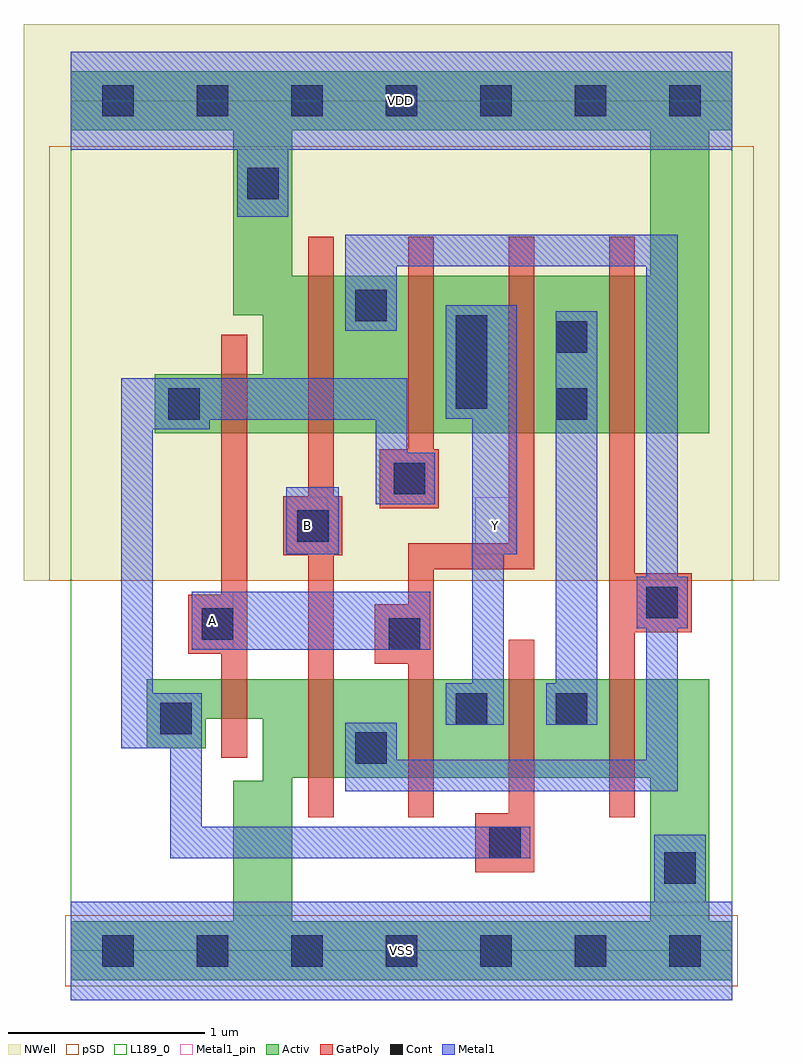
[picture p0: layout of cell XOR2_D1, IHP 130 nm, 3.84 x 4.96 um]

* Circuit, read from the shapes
.subckt XOR2_D1 A B VDD VSS Y
XM1 VSS A n1 VSS sg13_lv_nmos w=0.2u l=0.13u
XM2 n2 B VSS VSS sg13_lv_nmos w=0.5u l=0.13u
XM3 Y A n2 VSS sg13_lv_nmos w=0.5u l=0.13u
XM4 n3 n1 Y VSS sg13_lv_nmos w=0.5u l=0.13u
XM5 VSS n2 n3 VSS sg13_lv_nmos w=0.5u l=0.13u
XM6 VDD A n1 VDD sg13_lv_pmos w=0.3u l=0.13u
XM7 n2 B VDD VDD sg13_lv_pmos w=0.8u l=0.13u
XM8 Y n1 n2 VDD sg13_lv_pmos w=0.8u l=0.13u
XM9 n3 A Y VDD sg13_lv_pmos w=0.8u l=0.13u
XM10 VDD n2 n3 VDD sg13_lv_pmos w=0.8u l=0.13u
.ends

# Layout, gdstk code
import gdstk
lib = gdstk.Library(unit=1e-6, precision=1e-09)
def R(c, l, rs):  # rectangles x0, y0, x1, y1
    for r in rs: c.add(gdstk.rectangle(r[:2], r[2:], *l))
def A(c, l, x, y, w, h, nx, ny, dx, dy):  # array of equal rectangles
    R(c, l, [(x+i*dx, y+j*dy, x+i*dx+w, y+j*dy+h) for i in range(nx) for j in range(ny)])
def P(c, l, *ps):  # polygons
    for p in ps: c.add(gdstk.Polygon(p, *l))
Activ = (1, 0)
GatPoly = (5, 0)
Cont = (6, 0)
Metal1 = (8, 0)
Metal1_pin = (8, 2)
pSD = (14, 0)
NWell = (31, 0)
L189_0 = (189, 0)

xor2_d1 = lib.new_cell('XOR2_D1')
P(xor2_d1, Activ, [(0,-0.15),(0,0.15),(0.825,0.15),(0.825,0.865),(0.975,0.865),(0.975,0.88),(1.125,0.88),(1.125,0.15),(2.945,0.15),(2.945,0.88),(0.975,0.88),(0.975,1.18),(0.685,1.18),(0.685,1.03),(0.385,1.03),(0.385,1.38),(3.245,1.38),(3.245,0.15),(3.36,0.15),(3.36,-0.15)],
  [(0.425,2.63),(0.425,2.93),(0.975,2.93),(0.975,3.23),(0.825,3.23),(0.825,4.17),(1.125,4.17),(1.125,3.43),(2.945,3.43),(2.945,4.17),(0,4.17),(0,4.47),(3.36,4.47),(3.36,4.17),(3.245,4.17),(3.245,2.63)])
P(xor2_d1, GatPoly, [(2.055,0.4),(2.055,0.7),(2.225,0.7),(2.225,1.58),(2.355,1.58),(2.355,0.4)],
  [(0.765,0.98),(0.765,1.51),(0.595,1.51),(0.595,1.81),(0.765,1.81),(0.765,3.13),(0.895,3.13),(0.895,0.98)],
  [(1.205,0.68),(1.205,2.01),(1.08,2.01),(1.08,2.31),(1.205,2.31),(1.205,3.63),(1.335,3.63),(1.335,2.31),(1.38,2.31),(1.38,2.01),(1.335,2.01),(1.335,0.68)],
  [(1.57,2.25),(1.57,2.55),(1.715,2.55),(1.715,3.63),(1.845,3.63),(1.845,2.55),(1.87,2.55),(1.87,2.25)],
  [(1.715,0.68),(1.715,1.46),(1.545,1.46),(1.545,1.76),(1.715,1.76),(1.715,2.07),(2.225,2.07),(2.225,3.63),(2.355,3.63),(2.355,1.94),(1.845,1.94),(1.845,0.68)],
  [(2.735,0.68),(2.735,3.63),(2.865,3.63),(2.865,1.92),(3.155,1.92),(3.155,1.62),(2.865,1.62),(2.865,0.68)])
A(xor2_d1, Cont, 0.16, -0.08, 0.16, 0.16, 7, 2, 0.48, 4.32)
R(xor2_d1, Cont, [(3.015,0.34,3.175,0.5), (2.125,0.47,2.285,0.63), (1.445,0.95,1.605,1.11), (0.455,1.1,0.615,1.26), (1.955,1.15,2.115,1.31), (2.465,1.15,2.625,1.31), (1.615,1.53,1.775,1.69), (0.665,1.58,0.825,1.74), (2.925,1.69,3.085,1.85), (1.15,2.08,1.31,2.24), (1.64,2.32,1.8,2.48), (0.495,2.7,0.655,2.86), (2.465,2.7,2.625,2.86), (1.955,2.755,2.115,3.23), (2.465,3.04,2.625,3.2), (1.445,3.2,1.605,3.36), (0.895,3.82,1.055,3.98)])
R(xor2_d1, Metal1, [(0.615,1.53,1.825,1.825), (1.095,2.015,1.36,2.355)])
P(xor2_d1, Metal1, [(0,-0.25),(0,0.25),(2.965,0.25),(2.965,0.59),(3.225,0.59),(3.225,0.25),(3.36,0.25),(3.36,-0.25)],
  [(0.505,0.47),(0.505,1.03),(0.255,1.03),(0.255,2.91),(1.71,2.91),(1.71,2.53),(1.85,2.53),(1.85,2.27),(1.55,2.27),(1.55,2.7),(0.705,2.7),(0.705,2.65),(0.415,2.65),(0.415,1.31),(0.665,1.31),(0.665,0.63),(2.335,0.63),(2.335,0.47)],
  [(2.415,1.15),(2.415,1.36),(2.465,1.36),(2.465,3.25),(2.675,3.25),(2.675,1.15)],
  [(1.905,1.15),(1.905,1.36),(2.04,1.36),(2.04,2.705),(1.905,2.705),(1.905,3.28),(2.265,3.28),(2.265,2.015),(2.2,2.015),(2.2,1.15)],
  [(1.395,0.81),(1.395,1.16),(1.655,1.16),(1.655,0.97),(2.925,0.97),(2.925,1.64),(2.875,1.64),(2.875,1.9),(2.925,1.9),(2.925,3.48),(1.655,3.48),(1.655,3.15),(1.395,3.15),(1.395,3.64),(3.085,3.64),(3.085,1.9),(3.135,1.9),(3.135,1.64),(3.085,1.64),(3.085,0.81)],
  [(0.845,3.73),(0.845,4.07),(0,4.07),(0,4.57),(3.36,4.57),(3.36,4.07),(1.105,4.07),(1.105,3.73)])
R(xor2_d1, Metal1_pin, [(0,-0.25,3.36,0.25), (0.615,1.535,0.825,1.825), (1.095,2.015,1.305,2.305), (2.055,2.015,2.265,2.305), (0,4.07,3.36,4.57)])
R(xor2_d1, pSD, [(-0.03,-0.18,3.39,0.18), (-0.11,1.88,3.47,4.09)])
R(xor2_d1, NWell, [(-0.24,1.88,3.6,4.71)])
R(xor2_d1, L189_0, [(0,0,3.36,4.32)])
xor2_d1.add(gdstk.Label('A', (0.72,1.68), layer=8, texttype=25))
xor2_d1.add(gdstk.Label('B', (1.2,2.16), layer=8, texttype=25))
xor2_d1.add(gdstk.Label('Y', (2.16,2.16), layer=8, texttype=25))
xor2_d1.add(gdstk.Label('VSS', (1.68,0), layer=8, texttype=25))
xor2_d1.add(gdstk.Label('VDD', (1.675,4.32), layer=8, texttype=25))

lib.write_gds('XOR2_D1.gds')
